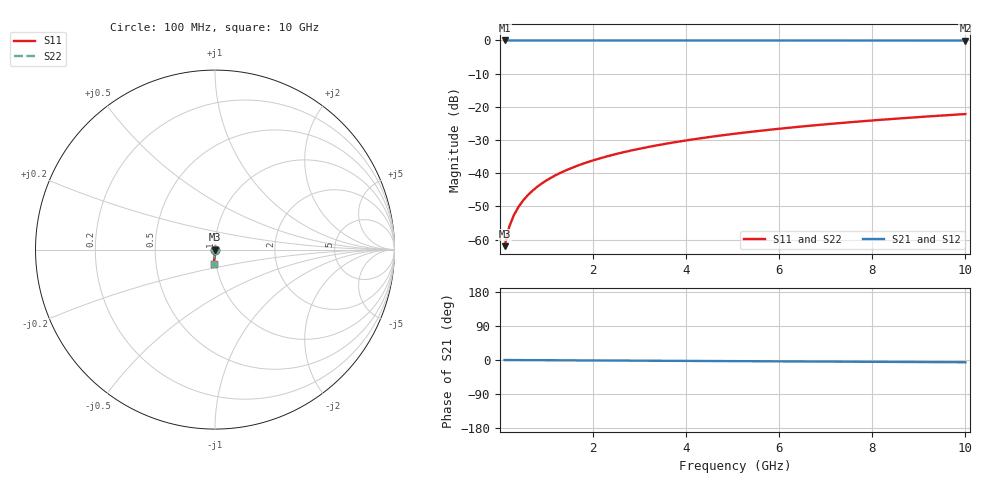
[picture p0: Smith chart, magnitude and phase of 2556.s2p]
# Hz S RI R 50.00
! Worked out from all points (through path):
!   100 points, 100 MHz to 10 GHz, reference 50 ohm
!   highest |S21| = 0.00 dB at 100 MHz (marker M1); lowest = 0.0 dB at 10 GHz (marker M2)
!   lowest |S11| = -62.0 dB at 100 MHz (marker M3), VSWR 1.00, Z = 50 - j0.078 ohm
!   |S11| at or under -10 dB: start of sweep to end of sweep
!   |S22| runs from -62.0 to -22.2 dB; largest |S21 - S12| = 0
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1e8  0.000164 -0.00078  0.9998 -0.00104  0.9998 -0.00104  0.000164 -0.00078
2e8  0.000161 -0.00156  0.9998 -0.00209  0.9998 -0.00209  0.000161 -0.00156
3e8  0.000157 -0.00234  0.9998 -0.00313  0.9998 -0.00313  0.000157 -0.00234
4e8  0.000151 -0.00312  0.9998 -0.00417  0.9998 -0.00417  0.000151 -0.00312
5e8  0.000144 -0.0039  0.9998 -0.00522  0.9998 -0.00522  0.000144 -0.0039
6e8  0.000134 -0.00468  0.9998 -0.00626  0.9998 -0.00626  0.000134 -0.00468
7e8  0.000123 -0.00546  0.9998 -0.0073  0.9998 -0.0073  0.000123 -0.00546
8e8  0.000111 -0.00624  0.9998 -0.00835  0.9998 -0.00835  0.000111 -0.00624
9e8  9.65e-05 -0.00702  0.9998 -0.00939  0.9998 -0.00939  9.65e-05 -0.00702
1.1e9  6.29e-05 -0.00858  0.9997 -0.0115  0.9997 -0.0115  6.29e-05 -0.00858
1.4e9  2.62e-07 -0.0109  0.9996 -0.0146  0.9996 -0.0146  2.62e-07 -0.0109
1.8e9  -0.000106 -0.014  0.9995 -0.0188  0.9995 -0.0188  -0.000106 -0.014
2.1e9  -0.000203 -0.0164  0.9994 -0.0219  0.9994 -0.0219  -0.000203 -0.0164
2.5e9  -0.000356 -0.0195  0.9993 -0.0261  0.9993 -0.0261  -0.000356 -0.0195
2.9e9  -0.000534 -0.0226  0.9991 -0.0303  0.9991 -0.0303  -0.000534 -0.0226
3.4e9  -0.000793 -0.0265  0.9988 -0.0355  0.9988 -0.0355  -0.000793 -0.0265
4.2e9  -0.00129 -0.0327  0.9983 -0.0438  0.9983 -0.0438  -0.00129 -0.0327
5.1e9  -0.00198 -0.0397  0.9976 -0.0532  0.9976 -0.0532  -0.00198 -0.0397
5.9e9  -0.0027 -0.0459  0.9968 -0.0615  0.9968 -0.0615  -0.0027 -0.0459
6.7e9  -0.00352 -0.0521  0.9959 -0.0698  0.9959 -0.0698  -0.00352 -0.0521
8.4e9  -0.00562 -0.0652  0.9938 -0.0874  0.9938 -0.0874  -0.00562 -0.0652
1e10  -0.00801 -0.0775  0.9913 -0.1039  0.9913 -0.1039  -0.00801 -0.0775
